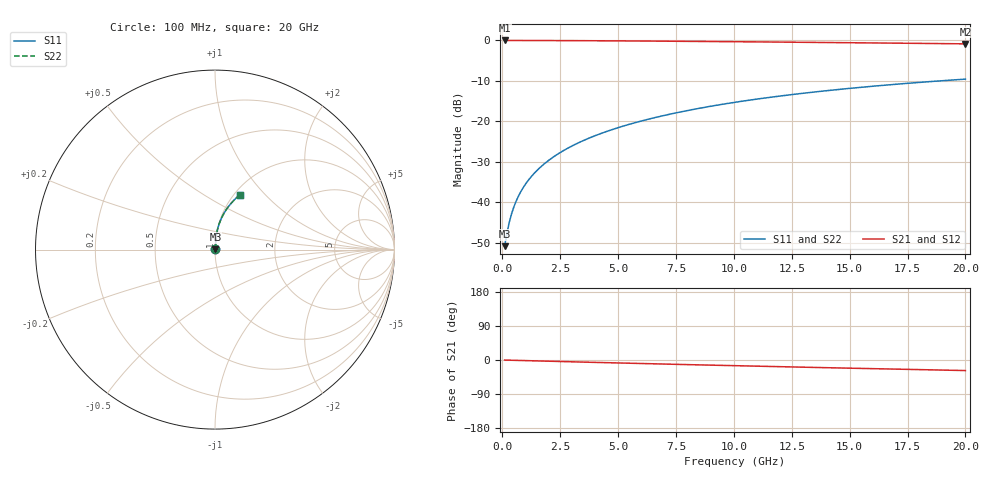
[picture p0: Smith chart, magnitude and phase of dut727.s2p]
! Touchstone file exported from HFSS 2024.1.0
!  File:  C:/UserFiles/LocalFiles/RDL_TSV_Batchsim/temp_RDL_top_727_1779850836.aedt
!  Generated:  11:03:31 AM May 27, 2026
!  Design:  RDL_top
!  Project:  temp_RDL_top_727_1779850836
!  Setup:  Setup1
!  Solution:  Sweep
! Variables:
!  dtsv = 10.80580581um
!  hbump = 3um
!  htsv = 57.69um
!  ldown = 100um
!  lrdl = 315.69um
!  p = 40
!  p1 = 59.17um
!  rhole = 1um
!  t = 450um
!  tdown = 3.915915916um
!  trdl = 2.93um
!  wdown = 15.38538539um
!  wrdl = 18.33um
# GHz S MA R 50.000000
! Terminal data exported
! Port[1] = Box2_T1
! Port[2] = Box2_T2
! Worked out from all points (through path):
!   200 points, 100 MHz to 20 GHz, reference 50 ohm
!   highest |S21| = -0.02 dB at 100 MHz (marker M1); lowest = -0.9 dB at 20 GHz (marker M2)
!   group delay of S21, straight-line fit = 3.85 ps
!   lowest |S11| = -50.8 dB at 100 MHz (marker M3), VSWR 1.01, Z = 50.2 + j0.173 ohm
!   |S11| at or under -10 dB: start of sweep to 18.9 GHz
!   |S22| runs from -50.8 to -9.6 dB; largest |S21 - S12| = 2.6e-15
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0.1  0.002877 36.8  0.9977 -0.2  0.9977 -0.2  0.002877 36.8
! Gamma 0 0 0 0
! Port Impedance 50 0 50 0
0.2  0.004159 55.5  0.9976 -0.3  0.9976 -0.3  0.004159 55.5
0.3  0.005655 64.6  0.9975 -0.5  0.9975 -0.5  0.005655 64.6
0.4  0.007213 69.7  0.9974 -0.7  0.9974 -0.7  0.007213 69.7
0.5  0.00879 72.9  0.9973 -0.8  0.9973 -0.8  0.00879 72.9
0.6  0.01037 75.2  0.9972 -1.0  0.9972 -1.0  0.01037 75.2
0.8  0.01355 78.2  0.997 -1.3  0.997 -1.3  0.01355 78.2
1.1  0.01835 80.8  0.9966 -1.8  0.9966 -1.8  0.01835 80.8
1.5  0.0248 82.7  0.9961 -2.4  0.9961 -2.4  0.0248 82.7
1.8  0.02968 83.5  0.9956 -2.9  0.9956 -2.9  0.02968 83.5
2.1  0.03459 84.1  0.995 -3.4  0.995 -3.4  0.03459 84.1
2.7  0.04451 84.7  0.9937 -4.3  0.9937 -4.3  0.04451 84.7
3.5  0.05791 84.9  0.9914 -5.5  0.9914 -5.5  0.05791 84.9
4.2  0.06981 84.7  0.9892 -6.6  0.9892 -6.6  0.06981 84.7
5  0.08357 84.3  0.9862 -7.8  0.9862 -7.8  0.08357 84.3
5.9  0.09922 83.6  0.9826 -9.2  0.9826 -9.2  0.09922 83.6
6.8  0.115 82.7  0.9787 -10.5  0.9787 -10.5  0.115 82.7
8.4  0.1431 81.0  0.9712 -12.7  0.9712 -12.7  0.1431 81.0
10.1  0.1729 78.8  0.9627 -15.1  0.9627 -15.1  0.1729 78.8
13.4  0.2292 74.4  0.945 -19.5  0.945 -19.5  0.2292 74.4
16.7  0.2825 70.0  0.9261 -23.8  0.9261 -23.8  0.2825 70.0
20  0.3323 65.7  0.9061 -27.8  0.9061 -27.8  0.3323 65.7
